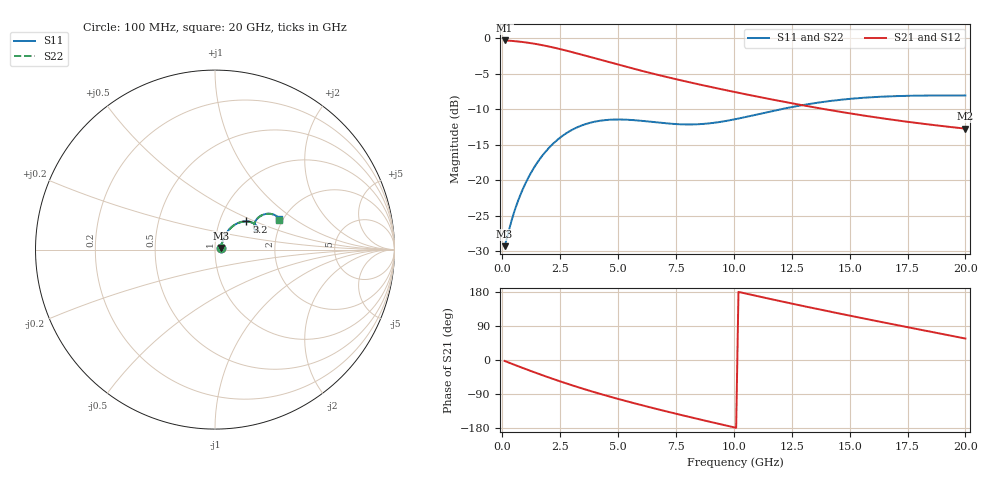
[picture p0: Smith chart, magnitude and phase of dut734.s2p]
! Touchstone file exported from HFSS 2024.1.0
!  File:  C:/UserFiles/LocalFiles/RDL_TSV_Batchsim/temp_RDL_TSV_734_1779893893.aedt
!  Generated:  11:15:17 PM May 27, 2026
!  Design:  RDL_TSV
!  Project:  temp_RDL_TSV_734_1779893893
!  Setup:  Setup1
!  Solution:  Sweep
! Variables:
!  dtsv = 7.06um
!  hbump = 3um
!  htsv = 64.75um
!  ldown = 667.53um
!  lrdl = 684.54um
!  p = 40
!  p1 = 51.71um
!  rhole = 10um
!  subl = 4740.75um
!  t = 450um
!  tdown = 4.67um
!  trdl = 2.04um
!  viad = 10um
!  wdown = 27.81um
!  wrdl = 17.6um
!  xbump = 18um
# GHz S MA R 50.000000
! Terminal data exported
! Port[1] = TM1_1_T1
! Port[2] = TM1_4_T1
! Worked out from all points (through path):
!   200 points, 100 MHz to 20 GHz, reference 50 ohm
!   highest |S21| = -0.29 dB at 100 MHz (marker M1); lowest = -12.7 dB at 20 GHz (marker M2)
!   group delay of S21, straight-line fit = 40.3 ps
!   lowest |S11| = -29.3 dB at 100 MHz (marker M3), VSWR 1.07, Z = 53.4 + j1.01 ohm
!   |S11| at or under -10 dB: start of sweep to 12.03 GHz
!   |S22| runs from -29.3 to -8.1 dB; largest |S21 - S12| = 1.7e-14
!   S11 on the Smith chart (normalised r, x): 100 MHz: 1.07, +0.02; 3.2 GHz: 1.34, +0.44; 20 GHz: 1.92, +0.76
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0.1  0.03423 16.0  0.967 -2.5  0.967 -2.5  0.03423 16.0
! Gamma 0 0 0 0
! Port Impedance 50 0 50 0
0.4  0.05181 41.8  0.9605 -9.7  0.9605 -9.7  0.05181 41.8
0.7  0.07284 50.7  0.9502 -16.8  0.9502 -16.8  0.07284 50.7
1  0.09483 54.4  0.9374 -23.7  0.9374 -23.7  0.0948 54.3
1.3  0.1173 55.3  0.922 -30.5  0.922 -30.5  0.1172 55.3
1.8  0.154 53.8  0.8913 -41.6  0.8913 -41.6  0.1538 53.7
2.2  0.1812 51.0  0.863 -50.2  0.863 -50.2  0.181 51.0
2.7  0.211 46.7  0.825 -60.5  0.825 -60.5  0.2107 46.7
3.2  0.2346 42.0  0.7857 -70.4  0.7857 -70.4  0.2342 42.0
3.5  0.2456 39.3  0.7622 -76.1  0.7622 -76.1  0.2452 39.2
4.3  0.2636 32.6  0.7018 -90.7  0.7018 -90.7  0.2631 32.6
5.1  0.2678 27.5  0.6466 -104.4  0.6466 -104.4  0.2673 27.5
5.9  0.2632 24.5  0.5974 -117.3  0.5974 -117.3  0.2628 24.5
6.8  0.2542 23.9  0.5489 -131.3  0.5489 -131.3  0.2538 23.9
7.6  0.2482 25.4  0.5111 -143.3  0.5111 -143.3  0.2478 25.5
8.4  0.2478 28.3  0.4774 -154.9  0.4774 -154.9  0.2476 28.4
10.1  0.2699 34.6  0.4165 -178.9  0.4165 -178.9  0.2699 34.6
11.7  0.308 36.5  0.3693 159.4  0.3693 159.4  0.3081 36.5
13.4  0.3475 34.9  0.3278 137.2  0.3278 137.2  0.3476 34.9
15  0.3744 31.9  0.296 117.1  0.296 117.1  0.3744 31.8
16.7  0.39 28.7  0.2689 96.3  0.2689 96.3  0.39 28.6
20  0.3957 25.2  0.2309 56.6  0.2309 56.6  0.3956 25.1
